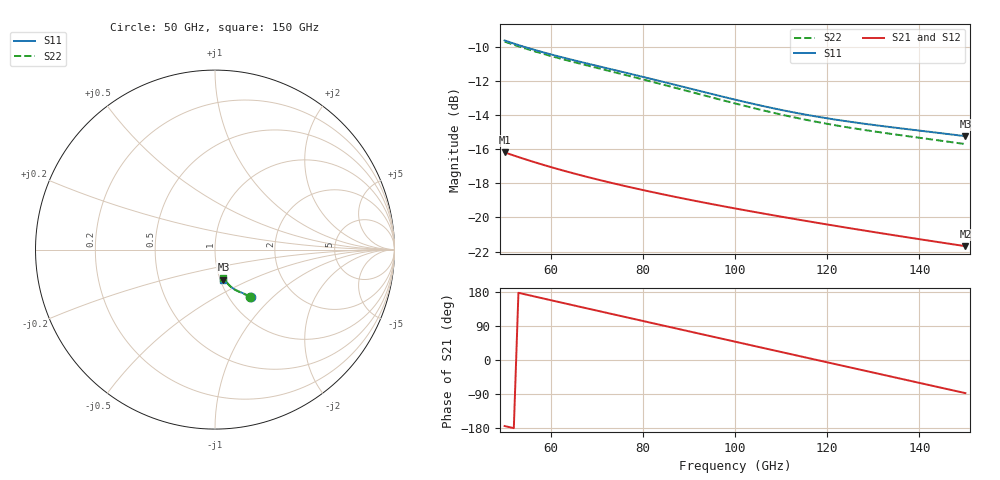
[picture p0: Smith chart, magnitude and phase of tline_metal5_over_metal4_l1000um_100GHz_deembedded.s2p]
! Created with skrf 2.2.0 (http://scikit-rf.org).
# GHz S DB R 50.0
! Port[1] = P1
! Port[2] = P2
!freq dBS11 angS11 dBS21 angS21 dBS12 angS12 dBS22 angS22
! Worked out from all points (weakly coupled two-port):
!   101 points, 50 GHz to 150 GHz, reference 50 ohm
!   highest |S21| = -16.18 dB at 50 GHz (marker M1); lowest = -21.7 dB at 150 GHz (marker M2)
!   lowest |S11| = -15.2 dB at 150 GHz (marker M3), VSWR 1.42, Z = 51.8 - j17.8 ohm
!   |S11| at or under -10 dB: 54.38 GHz to end of sweep
!   |S22| runs from -15.7 to -9.7 dB; largest |S21 - S12| = 2.4e-13
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50  -9.62 -53.1  -16.18 -174.2  -16.18 -174.2  -9.68 -53.8
54  -9.97 -54.2  -16.55 174.6  -16.55 174.6  -10.05 -54.9
58  -10.28 -55.3  -16.88 163.5  -16.88 163.5  -10.37 -56.0
63  -10.64 -56.7  -17.27 149.6  -17.27 149.6  -10.74 -57.4
67  -10.91 -57.9  -17.56 138.6  -17.56 138.6  -11.02 -58.6
71  -11.17 -59.1  -17.83 127.7  -17.83 127.7  -11.29 -59.9
75  -11.43 -60.4  -18.09 116.7  -18.09 116.7  -11.56 -61.2
79  -11.69 -61.7  -18.33 105.7  -18.33 105.7  -11.83 -62.5
84  -12.02 -63.2  -18.62 92.1  -18.62 92.1  -12.18 -64.0
88  -12.29 -64.4  -18.85 81.1  -18.85 81.1  -12.46 -65.2
92  -12.56 -65.4  -19.06 70.2  -19.06 70.2  -12.75 -66.3
100  -13.09 -67.2  -19.47 48.4  -19.47 48.4  -13.31 -68.1
105  -13.40 -68.1  -19.72 34.8  -19.72 34.8  -13.65 -69.0
109  -13.63 -68.7  -19.91 23.9  -19.91 23.9  -13.90 -69.6
113  -13.85 -69.2  -20.09 13.0  -20.09 13.0  -14.14 -70.1
117  -14.05 -69.6  -20.28 2.1  -20.28 2.1  -14.36 -70.5
121  -14.23 -70.1  -20.46 -8.8  -20.46 -8.8  -14.56 -70.9
125  -14.39 -70.6  -20.63 -19.6  -20.63 -19.6  -14.74 -71.3
134  -14.71 -71.8  -21.02 -44.1  -21.02 -44.1  -15.10 -72.4
142  -14.97 -73.0  -21.36 -65.8  -21.36 -65.8  -15.40 -73.5
146  -15.10 -73.7  -21.52 -76.6  -21.52 -76.6  -15.55 -74.1
150  -15.23 -74.3  -21.69 -87.4  -21.69 -87.4  -15.70 -74.7
